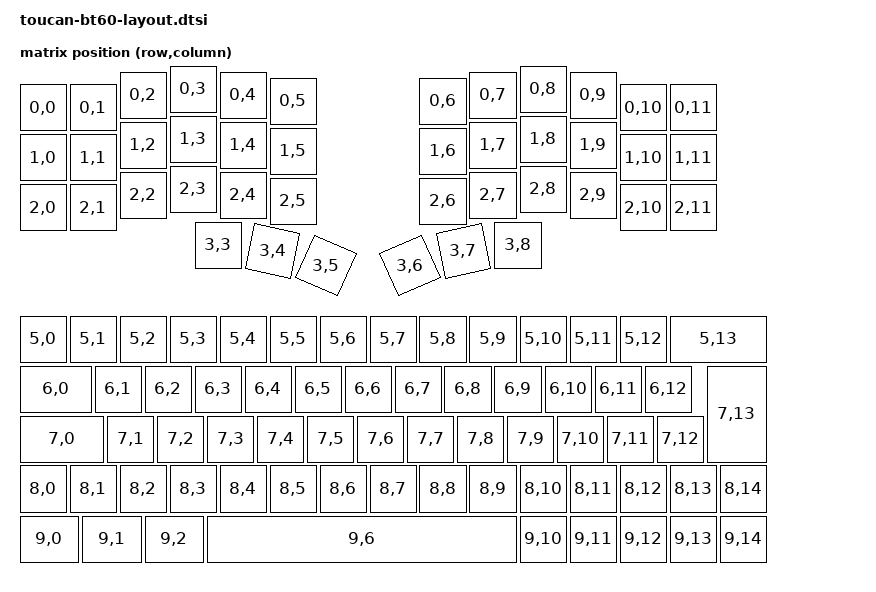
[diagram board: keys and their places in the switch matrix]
#include <physical_layouts.dtsi>
#include <dt-bindings/zmk/matrix_transform.h>

// Combined Toucan + BT60 key-position space, shared by the dongle (central) and the BT60
// (peripheral). Positions 0-41 are the Toucan in exactly the order of default_transform in
// toucan.dtsi, so the Toucan halves keep using their own 42-key transform unchanged.
// Positions 42-106 are the BT60 (ISO top rows + all-1U bottom rows), matrix rows 1-5 of the
// BT60 kscan shifted to rows 5-9 by `row-offset = <4>` in toucan_bt60.overlay. The BT60's
// kscan has 16 columns (P1.06 is the 16th), hence columns = <16>.
/ {
    toucan_bt60_transform: toucan_bt60_transform {
        compatible = "zmk,matrix-transform";
        columns = <16>;
        rows = <10>;
        map = <
        // Toucan (0-41)
        RC(0,0) RC(0,1) RC(0,2) RC(0,3) RC(0,4) RC(0,5)  RC(0,6) RC(0,7) RC(0,8) RC(0,9) RC(0,10) RC(0,11)
        RC(1,0) RC(1,1) RC(1,2) RC(1,3) RC(1,4) RC(1,5)  RC(1,6) RC(1,7) RC(1,8) RC(1,9) RC(1,10) RC(1,11)
        RC(2,0) RC(2,1) RC(2,2) RC(2,3) RC(2,4) RC(2,5)  RC(2,6) RC(2,7) RC(2,8) RC(2,9) RC(2,10) RC(2,11)
                                RC(3,3) RC(3,4) RC(3,5)  RC(3,6) RC(3,7) RC(3,8)
        // BT60 (42-106)
        RC(5,0) RC(5,1) RC(5,2) RC(5,3) RC(5,4) RC(5,5) RC(5,6) RC(5,7) RC(5,8) RC(5,9) RC(5,10) RC(5,11) RC(5,12) RC(5,13)
        RC(6,0) RC(6,1) RC(6,2) RC(6,3) RC(6,4) RC(6,5) RC(6,6) RC(6,7) RC(6,8) RC(6,9) RC(6,10) RC(6,11) RC(6,12)
        RC(7,0) RC(7,1) RC(7,2) RC(7,3) RC(7,4) RC(7,5) RC(7,6) RC(7,7) RC(7,8) RC(7,9) RC(7,10) RC(7,11) RC(7,12) RC(7,13)
        RC(8,0) RC(8,1) RC(8,2) RC(8,3) RC(8,4) RC(8,5) RC(8,6) RC(8,7) RC(8,8) RC(8,9) RC(8,10) RC(8,11) RC(8,12) RC(8,13) RC(8,14)
        RC(9,0) RC(9,1) RC(9,2) RC(9,6) RC(9,10) RC(9,11) RC(9,12) RC(9,13) RC(9,14)
        >;
    };

    toucan_bt60_layout: toucan_bt60_layout {
        compatible = "zmk,physical-layout";
        display-name = "Toucan + BT60";
        transform = <&toucan_bt60_transform>;

        keys  //                     w   h    x    y     rot    rx    ry
            = <&key_physical_attrs 100 100    0   37       0     0     0>
            , <&key_physical_attrs 100 100  100   37       0     0     0>
            , <&key_physical_attrs 100 100  200   12       0     0     0>
            , <&key_physical_attrs 100 100  300    0       0     0     0>
            , <&key_physical_attrs 100 100  400   12       0     0     0>
            , <&key_physical_attrs 100 100  500   24       0     0     0>
            , <&key_physical_attrs 100 100  800   24       0     0     0>
            , <&key_physical_attrs 100 100  900   12       0     0     0>
            , <&key_physical_attrs 100 100 1000    0       0     0     0>
            , <&key_physical_attrs 100 100 1100   12       0     0     0>
            , <&key_physical_attrs 100 100 1200   37       0     0     0>
            , <&key_physical_attrs 100 100 1300   37       0     0     0>
            , <&key_physical_attrs 100 100    0  137       0     0     0>
            , <&key_physical_attrs 100 100  100  137       0     0     0>
            , <&key_physical_attrs 100 100  200  112       0     0     0>
            , <&key_physical_attrs 100 100  300  100       0     0     0>
            , <&key_physical_attrs 100 100  400  112       0     0     0>
            , <&key_physical_attrs 100 100  500  124       0     0     0>
            , <&key_physical_attrs 100 100  800  124       0     0     0>
            , <&key_physical_attrs 100 100  900  112       0     0     0>
            , <&key_physical_attrs 100 100 1000  100       0     0     0>
            , <&key_physical_attrs 100 100 1100  112       0     0     0>
            , <&key_physical_attrs 100 100 1200  137       0     0     0>
            , <&key_physical_attrs 100 100 1300  137       0     0     0>
            , <&key_physical_attrs 100 100    0  237       0     0     0>
            , <&key_physical_attrs 100 100  100  237       0     0     0>
            , <&key_physical_attrs 100 100  200  212       0     0     0>
            , <&key_physical_attrs 100 100  300  200       0     0     0>
            , <&key_physical_attrs 100 100  400  212       0     0     0>
            , <&key_physical_attrs 100 100  500  224       0     0     0>
            , <&key_physical_attrs 100 100  800  224       0     0     0>
            , <&key_physical_attrs 100 100  900  212       0     0     0>
            , <&key_physical_attrs 100 100 1000  200       0     0     0>
            , <&key_physical_attrs 100 100 1100  212       0     0     0>
            , <&key_physical_attrs 100 100 1200  237       0     0     0>
            , <&key_physical_attrs 100 100 1300  237       0     0     0>
            , <&key_physical_attrs 100 100  350  312       0     0     0>
            , <&key_physical_attrs 100 100  450  312    1200   450   412>
            , <&key_physical_attrs 100 100  548  328    2400   548   433>
            , <&key_physical_attrs 100 100  752  328  (-2400)  852   433>
            , <&key_physical_attrs 100 100  850  312  (-1200)  950   412>
            , <&key_physical_attrs 100 100  950  312       0     0     0>
            , <&key_physical_attrs 100 100    0  500       0     0     0>
            , <&key_physical_attrs 100 100  100  500       0     0     0>
            , <&key_physical_attrs 100 100  200  500       0     0     0>
            , <&key_physical_attrs 100 100  300  500       0     0     0>
            , <&key_physical_attrs 100 100  400  500       0     0     0>
            , <&key_physical_attrs 100 100  500  500       0     0     0>
            , <&key_physical_attrs 100 100  600  500       0     0     0>
            , <&key_physical_attrs 100 100  700  500       0     0     0>
            , <&key_physical_attrs 100 100  800  500       0     0     0>
            , <&key_physical_attrs 100 100  900  500       0     0     0>
            , <&key_physical_attrs 100 100 1000  500       0     0     0>
            , <&key_physical_attrs 100 100 1100  500       0     0     0>
            , <&key_physical_attrs 100 100 1200  500       0     0     0>
            , <&key_physical_attrs 200 100 1300  500       0     0     0>
            , <&key_physical_attrs 150 100    0  600       0     0     0>
            , <&key_physical_attrs 100 100  150  600       0     0     0>
            , <&key_physical_attrs 100 100  250  600       0     0     0>
            , <&key_physical_attrs 100 100  350  600       0     0     0>
            , <&key_physical_attrs 100 100  450  600       0     0     0>
            , <&key_physical_attrs 100 100  550  600       0     0     0>
            , <&key_physical_attrs 100 100  650  600       0     0     0>
            , <&key_physical_attrs 100 100  750  600       0     0     0>
            , <&key_physical_attrs 100 100  850  600       0     0     0>
            , <&key_physical_attrs 100 100  950  600       0     0     0>
            , <&key_physical_attrs 100 100 1050  600       0     0     0>
            , <&key_physical_attrs 100 100 1150  600       0     0     0>
            , <&key_physical_attrs 100 100 1250  600       0     0     0>
            , <&key_physical_attrs 175 100    0  700       0     0     0>
            , <&key_physical_attrs 100 100  175  700       0     0     0>
            , <&key_physical_attrs 100 100  275  700       0     0     0>
            , <&key_physical_attrs 100 100  375  700       0     0     0>
            , <&key_physical_attrs 100 100  475  700       0     0     0>
            , <&key_physical_attrs 100 100  575  700       0     0     0>
            , <&key_physical_attrs 100 100  675  700       0     0     0>
            , <&key_physical_attrs 100 100  775  700       0     0     0>
            , <&key_physical_attrs 100 100  875  700       0     0     0>
            , <&key_physical_attrs 100 100  975  700       0     0     0>
            , <&key_physical_attrs 100 100 1075  700       0     0     0>
            , <&key_physical_attrs 100 100 1175  700       0     0     0>
            , <&key_physical_attrs 100 100 1275  700       0     0     0>
            , <&key_physical_attrs 125 200 1375  600       0     0     0>
            , <&key_physical_attrs 100 100    0  800       0     0     0>
            , <&key_physical_attrs 100 100  100  800       0     0     0>
            , <&key_physical_attrs 100 100  200  800       0     0     0>
            , <&key_physical_attrs 100 100  300  800       0     0     0>
            , <&key_physical_attrs 100 100  400  800       0     0     0>
            , <&key_physical_attrs 100 100  500  800       0     0     0>
            , <&key_physical_attrs 100 100  600  800       0     0     0>
            , <&key_physical_attrs 100 100  700  800       0     0     0>
            , <&key_physical_attrs 100 100  800  800       0     0     0>
            , <&key_physical_attrs 100 100  900  800       0     0     0>
            , <&key_physical_attrs 100 100 1000  800       0     0     0>
            , <&key_physical_attrs 100 100 1100  800       0     0     0>
            , <&key_physical_attrs 100 100 1200  800       0     0     0>
            , <&key_physical_attrs 100 100 1300  800       0     0     0>
            , <&key_physical_attrs 100 100 1400  800       0     0     0>
            , <&key_physical_attrs 125 100    0  900       0     0     0>
            , <&key_physical_attrs 125 100  125  900       0     0     0>
            , <&key_physical_attrs 125 100  250  900       0     0     0>
            , <&key_physical_attrs 625 100  375  900       0     0     0>
            , <&key_physical_attrs 100 100 1000  900       0     0     0>
            , <&key_physical_attrs 100 100 1100  900       0     0     0>
            , <&key_physical_attrs 100 100 1200  900       0     0     0>
            , <&key_physical_attrs 100 100 1300  900       0     0     0>
            , <&key_physical_attrs 100 100 1400  900       0     0     0>
            ;
    };
};
